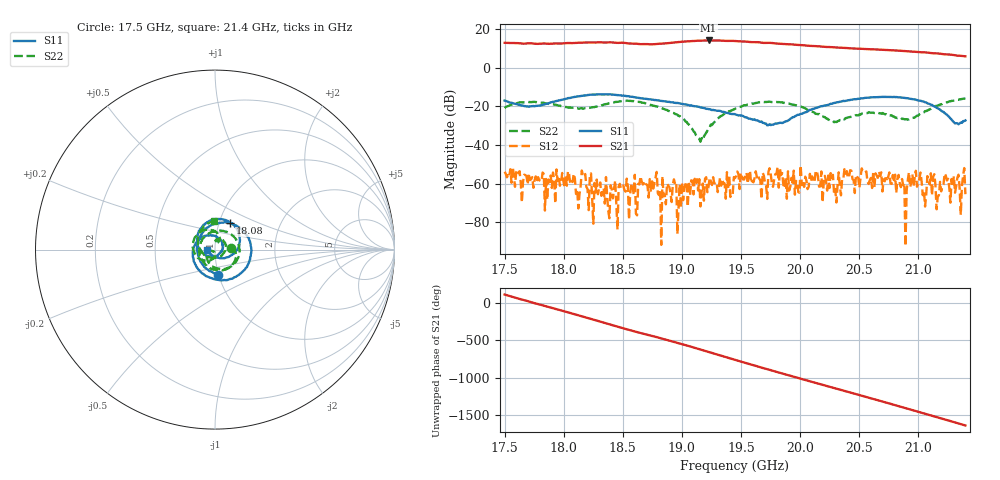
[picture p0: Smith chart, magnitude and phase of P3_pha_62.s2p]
!Created with skrf (http://scikit-rf.org).
# GHz S RI R 50.0
!freq ReS11 ImS11 ReS21 ImS21 ReS12 ImS12 ReS22 ImS22
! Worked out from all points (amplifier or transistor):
!   401 points, 17.5 GHz to 21.4 GHz, reference 50 ohm
!   highest |S21| = 14.0 dB at 19.23 GHz (marker M1)
!   |S21| within 3 dB of that: start of sweep to 20.15 GHz
!   unconditionally stable (mu >= 1): start of sweep to end of sweep
!   at 18.14 GHz: K = 128.57, MAG = 13.0 dB, |S12| = -61.4 dB
!   at 19.45 GHz: K = 73.63, MAG = 13.7 dB, |S12| = -57.1 dB
!   at 21.4 GHz: K = 466.42, MAG = 5.9 dB, |S12| = -65.4 dB
!   S11 on the Smith chart (normalised r, x): 17.5 GHz: 0.99, -0.28; 18.08 GHz: 1.13, +0.34; 21.4 GHz: 0.92, -0.01
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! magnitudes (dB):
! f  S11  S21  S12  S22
! 17.5 GHz  -17.1  12.8  -53.9  -20.9
! 17.86 GHz  -18.7  12.3  -68.3  -18.6
! 18.08 GHz  -15.4  12.6  -59.1  -20.8
! 18.12 GHz  -14.9  12.8  -72.8  -21.3
! 18.15 GHz  -14.6  12.8  -53.2  -21.0
! 18.37 GHz  -13.9  12.9  -66.1  -18.8
! 18.61 GHz  -15.5  12.3  -75.5  -17.4
! 18.65 GHz  -15.9  12.1  -56.3  -17.9
! 18.81 GHz  -17.0  12.3  -65.9  -20.6
! 19.16 GHz  -20.6  13.9  -71.8  -38.3
! 19.23 GHz  -21.5  14.0  -61.7  -31.8
! 19.45 GHz  -24.1  13.7  -57.1  -21.4
! 19.74 GHz  -29.3  12.8  -52.0  -17.6
! 20.1 GHz  -21.5  11.2  -56.3  -22.8
! 20.76 GHz  -15.2  9.0  -54.2  -24.7
! 20.89 GHz  -15.8  8.5  -92.3  -26.7
! 21 GHz  -17.0  8.0  -60.1  -24.8
! 21.05 GHz  -17.7  7.9  -63.6  -23.2
! 21.13 GHz  -19.8  7.4  -56.5  -20.8
! 21.18 GHz  -21.4  7.2  -66.0  -19.4
! 21.23 GHz  -24.0  6.8  -55.9  -18.2
! 21.4 GHz  -27.3  5.8  -65.4  -15.9
